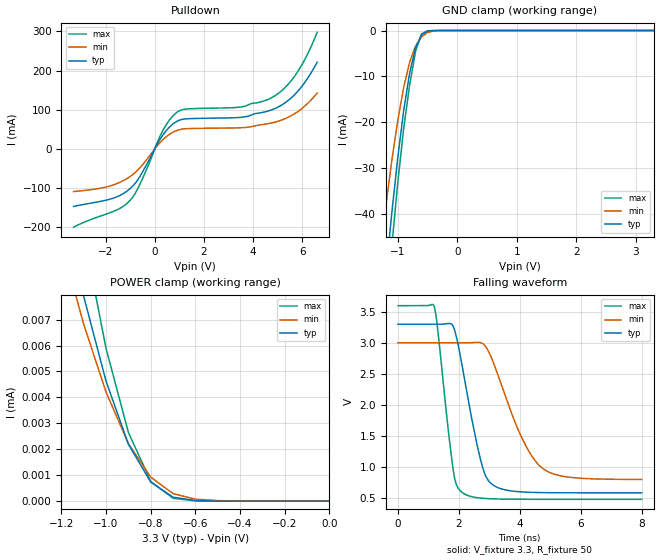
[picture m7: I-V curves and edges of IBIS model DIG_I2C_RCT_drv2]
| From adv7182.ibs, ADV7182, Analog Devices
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[Model] DIG_I2C_RCT_drv2
Model_type I/O_open_drain
Vinl = 1.37V
Vinh = 1.67V
C_comp 2.731135pF 1.729013pF 7.964102pF
Vmeas = 1.65V
Cref = 10pF
[Model Spec]
| Subparameter   typ   min   max
| Thresholds
Vinh   1.54V   1.44V   1.67V
Vinl   1.48V   1.37V   1.61V
| Overshoot
S_overshoot_high   3.60V   3.30V   3.90V
S_overshoot_low   -0.30V   NA   NA
| Timing spec related
Vmeas   1.65V   1.50V   1.80V
Cref   10pF   NA   NA
| variable   typ   min   max
[Temperature Range]   25   125   -40
[Voltage Range]   3.30V   3.00V   3.60V
[Pulldown Reference]   0V   0V   0V
[GND Clamp Reference]   0V   0V   0V
[POWER Clamp Reference]  3.30V   3.00V   3.60V
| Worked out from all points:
|   slope of the pulldown table from 0 to 0.495 V, typ, clamps not added: 10.1 ohm
|   GND clamp passes 1 mA (typ) near -0.60 V on its own axis
|   falling waveform, V_fixture 3.3, R_fixture 50: 20-80 % time 647ps typ, 1.09ns min, 413ps max; typ from 3.3 V to 0.578 V
[Pulldown]
| Note: Vtable = Vpin
| Voltage   I(typ)   I(min)   I(max)
-3.3V     -147mA     -109.1mA   -200mA
-1.7V     -126.3mA   -92.43mA   -160.3mA
-1V       -101.3mA   -70.6mA    -131.3mA
-600mV    -70.1mA    -48.01mA   -89.81mA
300mV     32.87mA    21.86mA    43.54mA
900mV     70.42mA    47.02mA    93.53mA
1.3V      76.86mA    51.67mA    102mA
3.5V      80.59mA    54.05mA    107.1mA
4.8V      100.9mA    67.07mA    132.7mA
5.7V      139.7mA    90.56mA    187.2mA
6.2V      179.2mA    115.3mA    240.9mA
6.6V      221.5mA    142.5mA    297.9mA
[GND Clamp]
| Note: Vtable = Vpin
| Voltage   I(typ)   I(min)   I(max)
-3.3V     -431.8mA   -349mA     -484.3mA
-1.3V     -67.14mA   -48.94mA   -78.55mA
-1.2V     -53.08mA   -38.26mA   -62.36mA
-1.1V     -39.88mA   -28.44mA   -47.13mA
-1V       -27.84mA   -19.7mA    -33.28mA
-900mV    -17.44mA   -12.4mA    -21.37mA
-800mV    -9.272mA   -6.915mA   -11.88mA
-700mV    -3.752mA   -3.35mA    -4.502mA
-600mV    -904.8uA   -1.389mA   -763.7uA
-500mV    -118.6uA   -438.4uA   -60.27uA
-300mV    -541.4nA   -7.115uA   -61.02nA
3.3V      0A         0A         0A
[Power Clamp]
| Note: Vtable = VCC - Vpin
| Voltage   I(typ)   I(min)   I(max)
-3.3V     215.8uA    169.6uA    286.8uA
-1.2V     11.9uA     9.962uA    15.75uA
-1.1V     7.892uA    6.814uA    10.3uA
-1V       4.624uA    4.205uA    5.886uA
-900mV    2.196uA    2.217uA    2.651uA
-800mV    733.8nA    925.3nA    762.1nA
-700mV    152.1nA    290.8nA    110.8nA
-600mV    22.95nA    76.33nA    10.03nA
-400mV    0A         0A         0A
0V        0A         0A         0A
[Ramp]
| Variable   typ   min   max
dV/dt_r   1.63V/181.5352ps   1.43V/249.4717ps   1.73V/155.1183ps
dV/dt_f   1.63V/647.0459ps   1.43V/1.222499ns   1.73V/375.6826ps
R_load =  50
[Falling Waveform]
V_fixture =  3.3
R_fixture =  50
V_fixture_max =  3.6
V_fixture_min =  3
| R_dut = 0.23Ohm
| L_dut = 6.2nH
| C_dut = 1.05pF
| Time   V(typ)   V(min)   V(max)
0s        3.3V       3V         3.6V
1.185ns   3.3V       3V         3.593V
1.276ns   3.3V       3V         3.339V
1.82ns    3.258V     3V         929.4mV
2.088ns   2.682V     3V         591.2mV
2.724ns   1.09V      3.001V     492.5mV
3.112ns   707.8mV    2.706V     480.6mV
3.994ns   594.9mV    1.546V     474mV
4.725ns   581.4mV    982.7mV    473.1mV
8.001ns   577.5mV    793.5mV    472.9mV
